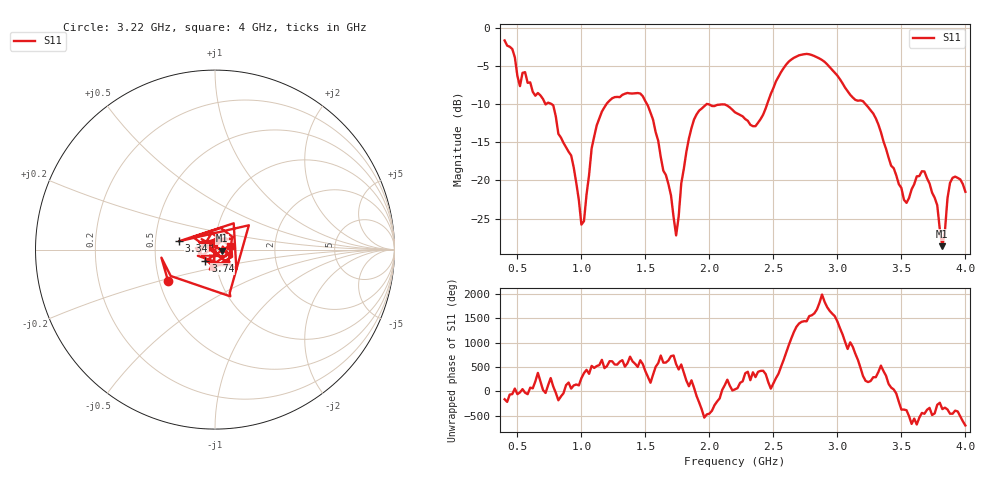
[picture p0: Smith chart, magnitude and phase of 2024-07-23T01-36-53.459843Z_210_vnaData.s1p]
!Created with skrf (http://scikit-rf.org).
# Hz S RI R 50.0
!freq ReS11 ImS11
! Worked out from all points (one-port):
!   181 points, 400 MHz to 4 GHz, reference 50 ohm
!   lowest |S11| = -28.6 dB at 3.82 GHz (marker M1), VSWR 1.08, Z = 53.8 - j0.58 ohm
!   |S11| at or under -10 dB: 1.512 GHz to 1.979 GHz (467.7 MHz wide, 26.8 % of centre); 1.983 GHz to 2.452 GHz (469 MHz wide, 21.2 % of centre); 3.218 GHz to end of sweep (the widest 3 of 5)
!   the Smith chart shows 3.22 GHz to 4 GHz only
!   S11 on the Smith chart (normalised r, x): 3.22 GHz: 0.56, -0.22; 3.34 GHz: 0.66, +0.06; 3.74 GHz: 0.89, -0.11; 4 GHz: 1.18, +0.05
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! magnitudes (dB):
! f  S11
! 400 MHz  -1.7
! 520 MHz  -7.7
! 560 MHz  -5.8
! 780 MHz  -10.2
! 860 MHz  -15.1
! 920 MHz  -16.7
! 1 GHz  -25.8
! 1.12 GHz  -12.8
! 1.3 GHz  -9.1
! 1.52 GHz  -10.3
! 1.7 GHz  -22.0
! 1.74 GHz  -27.2
! 1.76 GHz  -24.7
! 1.82 GHz  -16.3
! 1.9 GHz  -11.4
! 2.2 GHz  -11.1
! 2.36 GHz  -12.9
! 2.66 GHz  -4.0
! 2.88 GHz  -4.2
! 3.1 GHz  -8.8
! 3.22 GHz  -10.0
! 3.34 GHz  -13.7
! 3.56 GHz  -22.3
! 3.66 GHz  -18.8
! 3.74 GHz  -21.6
! 3.82 GHz  -28.6
! 3.88 GHz  -20.3
! 4 GHz  -21.5
